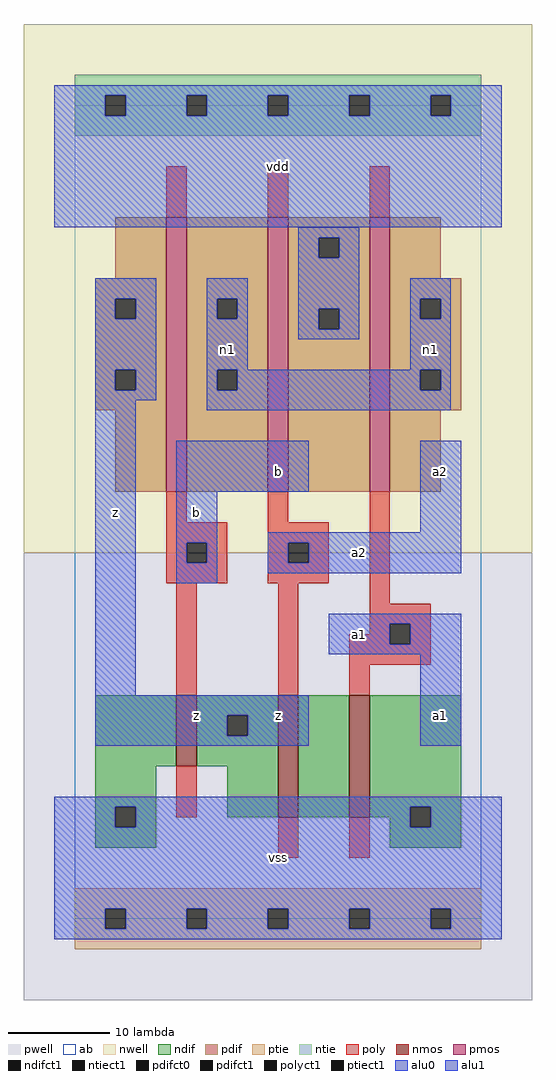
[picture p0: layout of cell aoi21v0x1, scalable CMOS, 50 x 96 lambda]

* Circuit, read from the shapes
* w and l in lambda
.subckt aoi21v0x1 a1 a2 b n1 vdd vss z
M1 z b vss vss nfet w=7 l=2
M2 n2 a2 z vss nfet w=12 l=2
M3 vss a1 n2 vss nfet w=12 l=2
M4 n1 b z vdd pfet w=27 l=2
M5 vdd a2 n1 vdd pfet w=27 l=2
M6 n1 a1 vdd vdd pfet w=27 l=2
.ends

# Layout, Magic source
magic
tech scmos
<< ab >>
rect 0 0 40 80
<< nwell >>
rect -5 36 45 88
<< pwell >>
rect -5 -8 45 36
<< poly >>
rect 9 69 11 74
rect 19 69 21 74
rect 29 69 31 74
rect 9 39 11 42
rect 19 39 21 42
rect 9 37 15 39
rect 9 35 11 37
rect 13 35 15 37
rect 9 33 15 35
rect 19 37 25 39
rect 19 35 21 37
rect 23 35 25 37
rect 19 33 25 35
rect 10 22 12 33
rect 20 22 22 33
rect 29 31 31 42
rect 29 29 35 31
rect 29 28 31 29
rect 27 27 31 28
rect 33 27 35 29
rect 27 25 35 27
rect 27 22 29 25
rect 10 10 12 15
rect 20 6 22 10
rect 27 6 29 10
<< ndif >>
rect 2 15 10 22
rect 12 20 20 22
rect 12 18 15 20
rect 17 18 20 20
rect 12 15 20 18
rect 2 11 8 15
rect 2 9 4 11
rect 6 9 8 11
rect 15 10 20 15
rect 22 10 27 22
rect 29 11 38 22
rect 29 10 33 11
rect 2 7 8 9
rect 31 9 33 10
rect 35 9 38 11
rect 31 7 38 9
<< pdif >>
rect 4 63 9 69
rect 2 61 9 63
rect 2 59 4 61
rect 6 59 9 61
rect 2 54 9 59
rect 2 52 4 54
rect 6 52 9 54
rect 2 50 9 52
rect 4 42 9 50
rect 11 61 19 69
rect 11 59 14 61
rect 16 59 19 61
rect 11 54 19 59
rect 11 52 14 54
rect 16 52 19 54
rect 11 42 19 52
rect 21 67 29 69
rect 21 65 24 67
rect 26 65 29 67
rect 21 60 29 65
rect 21 58 24 60
rect 26 58 29 60
rect 21 42 29 58
rect 31 63 36 69
rect 31 61 38 63
rect 31 59 34 61
rect 36 59 38 61
rect 31 54 38 59
rect 31 52 34 54
rect 36 52 38 54
rect 31 50 38 52
rect 31 42 36 50
<< alu1 >>
rect -2 81 42 82
rect -2 79 3 81
rect 5 79 11 81
rect 13 79 19 81
rect 21 79 27 81
rect 29 79 35 81
rect 37 79 42 81
rect -2 68 42 79
rect 2 61 8 63
rect 2 59 4 61
rect 6 59 8 61
rect 2 54 8 59
rect 2 52 4 54
rect 6 52 8 54
rect 2 51 8 52
rect 2 22 6 51
rect 10 42 23 47
rect 10 37 14 42
rect 34 38 38 47
rect 10 35 11 37
rect 13 35 14 37
rect 10 33 14 35
rect 19 37 38 38
rect 19 35 21 37
rect 23 35 38 37
rect 19 34 38 35
rect 25 29 38 30
rect 25 27 31 29
rect 33 27 38 29
rect 25 26 38 27
rect 2 20 23 22
rect 2 18 15 20
rect 17 18 23 20
rect 2 17 23 18
rect 34 17 38 26
rect -2 11 42 12
rect -2 9 4 11
rect 6 9 33 11
rect 35 9 42 11
rect -2 1 42 9
rect -2 -1 3 1
rect 5 -1 11 1
rect 13 -1 19 1
rect 21 -1 27 1
rect 29 -1 35 1
rect 37 -1 42 1
rect -2 -2 42 -1
<< ptie >>
rect 0 1 40 3
rect 0 -1 3 1
rect 5 -1 11 1
rect 13 -1 19 1
rect 21 -1 27 1
rect 29 -1 35 1
rect 37 -1 40 1
rect 0 -3 40 -1
<< ntie >>
rect 0 81 40 83
rect 0 79 3 81
rect 5 79 11 81
rect 13 79 19 81
rect 21 79 27 81
rect 29 79 35 81
rect 37 79 40 81
rect 0 77 40 79
<< nmos >>
rect 10 15 12 22
rect 20 10 22 22
rect 27 10 29 22
<< pmos >>
rect 9 42 11 69
rect 19 42 21 69
rect 29 42 31 69
<< polyct1 >>
rect 11 35 13 37
rect 21 35 23 37
rect 31 27 33 29
<< ndifct1 >>
rect 15 18 17 20
rect 4 9 6 11
rect 33 9 35 11
<< ntiect1 >>
rect 3 79 5 81
rect 11 79 13 81
rect 19 79 21 81
rect 27 79 29 81
rect 35 79 37 81
<< ptiect1 >>
rect 3 -1 5 1
rect 11 -1 13 1
rect 19 -1 21 1
rect 27 -1 29 1
rect 35 -1 37 1
<< pdifct0 >>
rect 14 59 16 61
rect 14 52 16 54
rect 24 65 26 67
rect 24 58 26 60
rect 34 59 36 61
rect 34 52 36 54
<< pdifct1 >>
rect 4 59 6 61
rect 4 52 6 54
<< alu0 >>
rect 22 67 28 68
rect 22 65 24 67
rect 26 65 28 67
rect 13 61 17 63
rect 13 59 14 61
rect 16 59 17 61
rect 13 54 17 59
rect 22 60 28 65
rect 22 58 24 60
rect 26 58 28 60
rect 22 57 28 58
rect 33 61 37 63
rect 33 59 34 61
rect 36 59 37 61
rect 33 54 37 59
rect 13 52 14 54
rect 16 52 34 54
rect 36 52 37 54
rect 13 50 37 52
<< labels >>
rlabel alu0 15 56 15 56 6 n1
rlabel alu0 35 56 35 56 6 n1
rlabel alu1 4 40 4 40 6 z
rlabel alu1 12 20 12 20 6 z
rlabel alu1 12 40 12 40 6 b
rlabel alu1 20 6 20 6 6 vss
rlabel alu1 20 20 20 20 6 z
rlabel alu1 28 36 28 36 6 a2
rlabel alu1 28 28 28 28 6 a1
rlabel alu1 20 44 20 44 6 b
rlabel alu1 20 74 20 74 6 vdd
rlabel alu1 36 20 36 20 6 a1
rlabel alu1 36 44 36 44 6 a2
<< end >>
